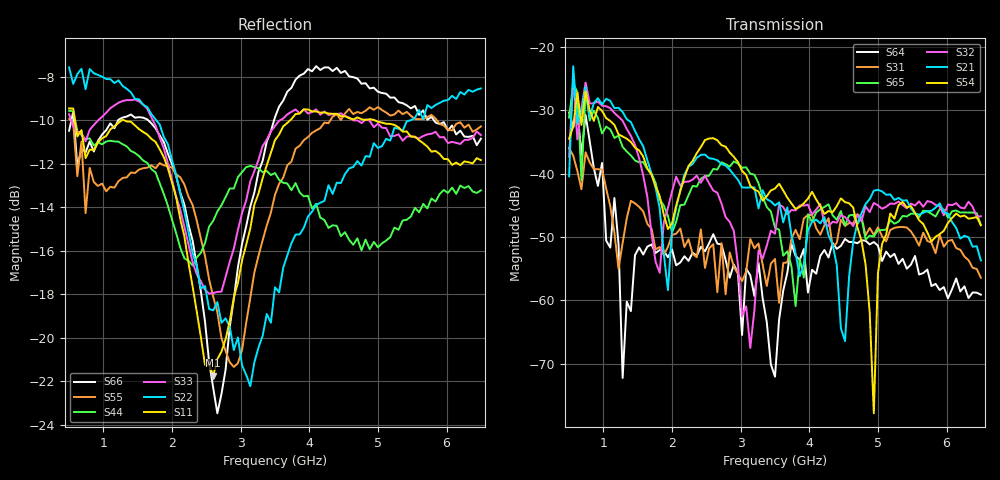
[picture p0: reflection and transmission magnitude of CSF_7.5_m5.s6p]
!Keysight Technologies,M9804A,MY58100912,A.14.10.03
!Date: Thursday, April 27, 2023 10:28:33
!Correction: S11(C  6-Port  )
!S12(C  6-Port  )
!S13(C  6-Port  )
!S14(C  6-Port  )
!S15(C  6-Port  )
!S16(C  6-Port  )
!S21(C  6-Port  )
!S22(C  6-Port  )
!S23(C  6-Port  )
!S24(C  6-Port  )
!S25(C  6-Port  )
!S26(C  6-Port  )
!S31(C  6-Port  )
!S32(C  6-Port  )
!S33(C  6-Port  )
!S34(C  6-Port  )
!S35(C  6-Port  )
!S36(C  6-Port  )
!S41(C  6-Port  )
!S42(C  6-Port  )
!S43(C  6-Port  )
!S44(C  6-Port  )
!S45(C  6-Port  )
!S46(C  6-Port  )
!S51(C  6-Port  )
!S52(C  6-Port  )
!S53(C  6-Port  )
!S54(C  6-Port  )
!S55(C  6-Port  )
!S56(C  6-Port  )
!S61(C  6-Port  )
!S62(C  6-Port  )
!S63(C  6-Port  )
!S64(C  6-Port  )
!S65(C  6-Port  )
!S66(C  6-Port  )
!S6P File: Measurement: :
# Hz S  RI  R 50
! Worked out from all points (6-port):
!   101 points, 500 MHz to 6.5 GHz, reference 50 ohm
!   strongest paths, dB at 500 MHz, 2 GHz, 3.5 GHz, 5 GHz, 6.5 GHz:
!     S54: -34.5, -47.9, -42.4, -55.7, -48.2
!     S21: -40.4, -48.8, -45.0, -42.6, -53.7
!     S32: -37.3, -42.8, -49.5, -45.0, -46.7
!     S65: -31.2, -49.3, -48.5, -48.9, -48.1
!     S31: -36.0, -49.7, -53.5, -48.5, -56.4
!     S64: -30.4, -52.0, -72.0, -51.4, -59.1
!   lowest |S11| = -21.7 dB at 2.6 GHz (marker M1), VSWR 1.18, Z = 42.7 + j1.95 ohm
!   |S11| at or under -10 dB: 585.5 MHz to 1.265 GHz (679.6 MHz wide, 73.4 % of centre); 1.307 GHz to 3.719 GHz (2.412 GHz wide, 96 % of centre); 4.957 GHz to end of sweep
